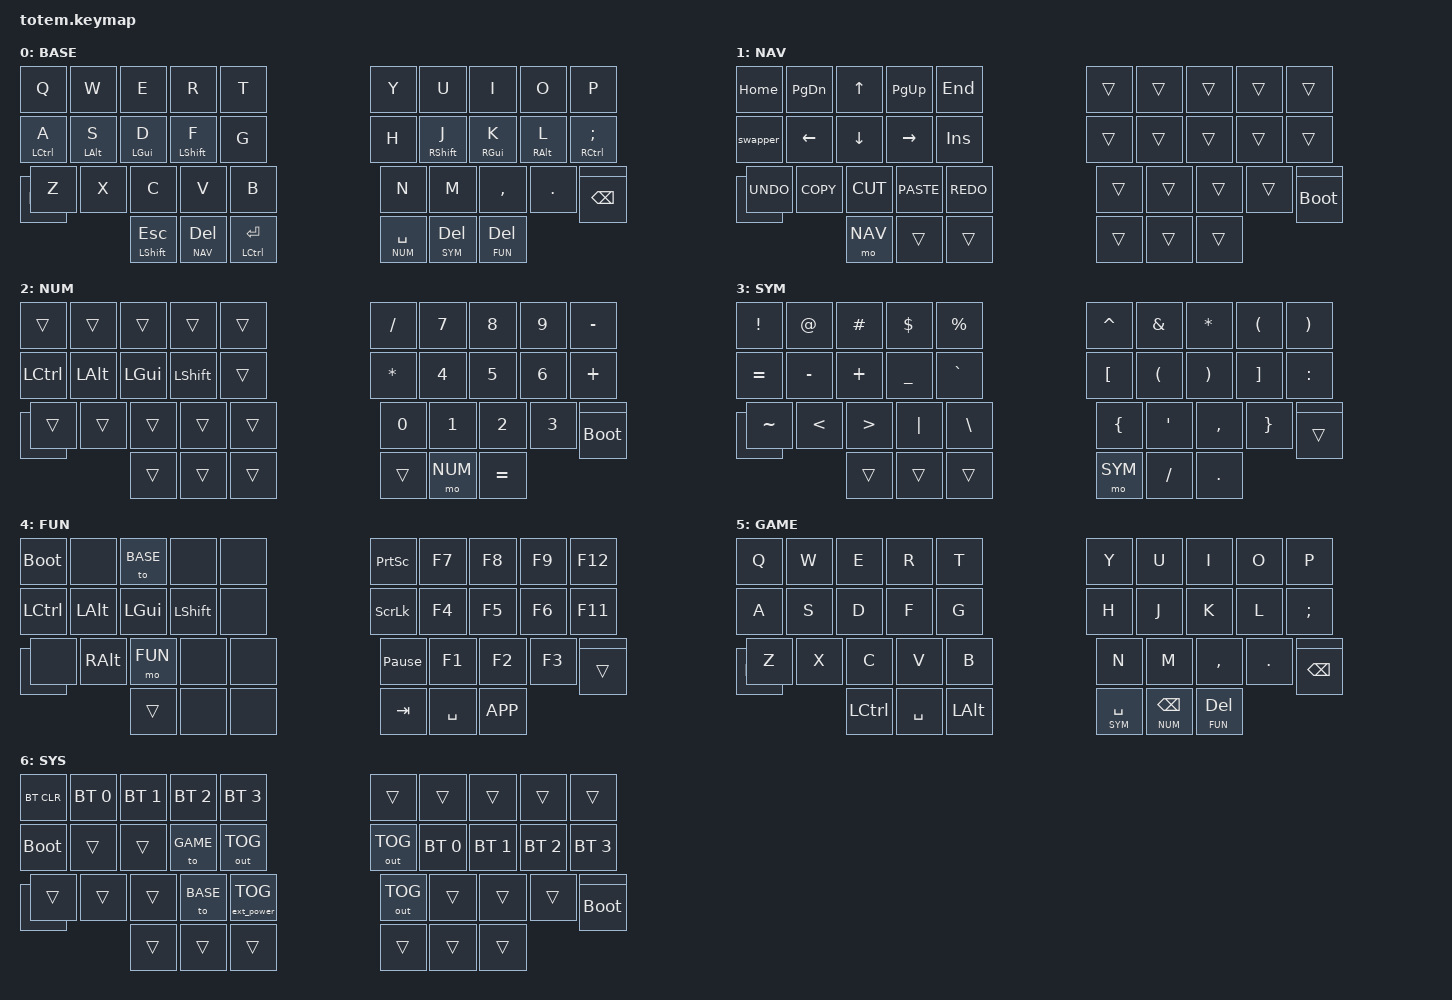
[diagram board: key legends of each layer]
/*
 * Unified Miryoku-inspired keymap for Totem keyboard (38 keys)
 * Based on Corne layout, adapted for smaller form factor
 * Uses Miryoku layer structure with urob's num layer
 * Copyright (c) 2020 The ZMK Contributors
 * SPDX-License-Identifier: MIT
 */

#include <behaviors.dtsi>
#include <dt-bindings/zmk/bt.h>
#include <dt-bindings/zmk/keys.h>
#include <dt-bindings/zmk/outputs.h>
#include <dt-bindings/zmk/ext_power.h>
#include <dt-bindings/zmk/reset.h>
#include <dt-bindings/zmk/mouse.h>
#include <behaviors/num_word.dtsi>
#include <zmk-helpers/helper.h>
#include <zmk-helpers/key-labels/totem.h>

// Layer definitions
#define BASE 0
#define NAV 1
#define NUM 2
#define SYM 3
#define FUN 4
#define GAME 5
#define SYS 6

// Key position groups for positional hold-tap
// Totem: 38 keys total (5 cols × 3 rows + 6 outer keys + 6 thumb keys)
#define KEYS_L LT0 LT1 LT2 LT3 LT4 LM0 LM1 LM2 LM3 LM4 LB0 LB1 LB2 LB3 LB4 LB5  // Left hand
#define KEYS_R RT0 RT1 RT2 RT3 RT4 RM0 RM1 RM2 RM3 RM4 RB0 RB1 RB2 RB3 RB4 RB5  // Right hand
#define THUMBS LH2 LH1 LH0 RH0 RH1 RH2  // Thumb keys

/ {
    behaviors {
        // Home row mods - left hand (urob's timing)
        hml: homerow_mods_left {
            compatible = "zmk,behavior-hold-tap";
            #binding-cells = <2>;
            flavor = "balanced";
            tapping-term-ms = <280>;
            quick-tap-ms = <175>;
            require-prior-idle-ms = <150>;
            bindings = <&kp>, <&kp>;
            hold-trigger-key-positions = <KEYS_R THUMBS>;
            hold-trigger-on-release;
        };

        // Home row mods - right hand (urob's timing)
        hmr: homerow_mods_right {
            compatible = "zmk,behavior-hold-tap";
            #binding-cells = <2>;
            flavor = "balanced";
            tapping-term-ms = <280>;
            quick-tap-ms = <175>;
            require-prior-idle-ms = <150>;
            bindings = <&kp>, <&kp>;
            hold-trigger-key-positions = <KEYS_L THUMBS>;
            hold-trigger-on-release;
        };

        // Tap-dance for numword: tap=numword, double-tap=sticky layer
        num_dance: num_dance {
            compatible = "zmk,behavior-tap-dance";
            #binding-cells = <0>;
            tapping-term-ms = <200>;
            bindings = <&num_word NUM>, <&sl NUM>;
        };

        // Smart-num: hold=momentary NUM, tap=numword
        smart_num: smart_num {
            compatible = "zmk,behavior-hold-tap";
            #binding-cells = <2>;
            flavor = "balanced";
            tapping-term-ms = <200>;
            quick-tap-ms = <175>;
            bindings = <&mo>, <&num_dance>;
        };

        // App switcher tri-state for macOS (Ctrl+Tab with GUI/Ctrl swap)
        // Tap: Ctrl+Tab, Continue tapping: cycle through apps, Release: select app
        // Can use arrow keys (UP/DOWN/LEFT/RIGHT) while held to navigate
        swapper: swapper {
            compatible = "zmk,behavior-tri-state";
            label = "SWAPPER";
            #binding-cells = <0>;
            bindings = <&kt LCTRL>, <&kp TAB>, <&kt LCTRL>;
            ignored-key-positions = <LT2 LM1 LM2 LM3 LH1>;  // Arrow keys: UP(LT2), RIGHT(LM1), DOWN(LM2), LEFT(LM3), TAB(LH1)
        };
    };

    combos {
        compatible = "zmk,combos";

        // Combo to access SYS layer from GAME mode (top outer corners)
        combo_game_sys {
            timeout-ms = <50>;
            key-positions = <20 31>; // LB5 + RB5 (outer bottom corners)
            bindings = <&mo SYS>;
            layers = <GAME>;
        };

        // Combo to access SYS layer from BASE layer
        combo_base_sys {
            timeout-ms = <50>;
            key-positions = <20 31>; // LB5 + RB5 (outer bottom corners)
            bindings = <&mo SYS>;
            layers = <BASE>;
        };
    };

    keymap {
        compatible = "zmk,keymap";

        // BASE LAYER - QWERTY with urob's home row mods (CAGS order)
        base_layer {
            display-name = "BASE";
            // -----------------------------------------------------------------------------------------
            // |  Q  |  W  |  E  |  R  |  T  |   |  Y  |  U   |  I  |  O  |  P  |
            // |  A  |  S  |  D  |  F  |  G  |   |  H  |  J   |  K  |  L  |  ;  |
            // |  Z  |  X  |  C  |  V  |  B  |   |  N  |  M   |  ,  |  .  |  /  |
            //       |SHFT/ESC|NAV/DEL|CTRL/RET|   |NUM/SPC|SYM/DEL|FUN/DEL|

            bindings = <
    &kp Q          &kp W        &kp E         &kp R         &kp T             &kp Y         &kp U           &kp I         &kp O        &kp P
    &hml LCTRL A   &hml LALT S  &hml LGUI D   &hml LSHFT F  &kp G             &kp H         &hmr RSHFT J    &hmr RGUI K   &hmr RALT L  &hmr RCTRL SEMI
&kp ESC &kp Z      &kp X        &kp C         &kp V         &kp B             &kp N         &kp M           &kp COMMA     &kp DOT      &kp FSLH  &kp BSPC
                                &mt LSHFT ESC &lt NAV DEL   &mt LCTRL RET     &lt NUM SPACE &lt SYM DEL     &lt FUN DEL
            >;
        };

        // NAV LAYER - Navigation (one-handed left side)
        nav_layer {
            display-name = "NAV";
            // -----------------------------------------------------------------------------------------
            // | HOME| PGDN|  UP | PGUP| END |   |     |     |     |     |     |
            // |SWAP | LEFT| DOWN|RIGHT| INS |   |     |     |     |     |     |
            // |UNDO | COPY| CUT |PASTE|REDO |   |     |     |     |     |     |
            //       |     | NAV |     |   |     |     |     |

            bindings = <
    &kp HOME   &kp PG_DN  &kp UP     &kp PG_UP   &kp END       &trans    &trans  &trans  &trans  &trans
    &swapper   &kp LEFT   &kp DOWN   &kp RIGHT   &kp INS       &trans    &trans  &trans  &trans  &trans
&trans &kp K_UNDO &kp K_COPY &kp K_CUT  &kp K_PASTE &kp K_REDO    &trans    &trans  &trans  &trans  &trans  &bootloader
                           &mo NAV    &trans      &trans        &trans    &trans  &trans
            >;
        };

        // NUM LAYER - Number pad (one-handed right side)
        num_layer {
            display-name = "NUM";
            // -----------------------------------------------------------------------------------------
            // |     |     |     |     |     |   |  /  |  7  |  8  |  9  |  -  |
            // | CTRL| ALT | GUI |SHFT |     |   |  *  |  4  |  5  |  6  |  +  |
            // |     |     |     |     |     |   |  0  |  1  |  2  |  3  |  .  |
            //       |     |     |     |   |     | NUM |  =  |

            bindings = <
    &trans     &trans    &trans    &trans     &trans    &kp FSLH  &kp N7  &kp N8  &kp N9  &kp MINUS
    &kp LCTRL  &kp LALT  &kp LGUI  &kp LSHFT  &trans    &kp STAR  &kp N4  &kp N5  &kp N6  &kp PLUS
&trans &trans  &trans    &trans    &trans     &trans    &kp N0    &kp N1  &kp N2  &kp N3  &kp DOT  &bootloader
                         &trans    &trans     &trans    &trans    &mo NUM &kp EQUAL
            >;
        };

        // SYM LAYER - Symbols (Traditional number row + Python/JS optimized)
        sym_layer {
            display-name = "SYM";
            // -----------------------------------------------------------------------------------------
            // |  !  |  @  |  #  |  $  |  %  |   |  ^  |  &  |  *  |  (  |  )  |
            // |  =  |  -  |  +  |  _  |  `  |   |  [  |  (  |  )  |  ]  |  :  |
            // |  ~  |  <  |  >  |  |  |  \  |   |  {  |  '  |  ,  |  }  |  ;  |
            //       |     |     |     |   | SYM |  /  |  .  |

            bindings = <
    &kp EXCL   &kp AT    &kp HASH  &kp DLLR  &kp PRCNT    &kp CARET &kp AMPS  &kp ASTRK &kp LPAR  &kp RPAR
    &kp EQUAL  &kp MINUS &kp PLUS  &kp UNDER &kp GRAVE    &kp LBKT  &kp LPAR  &kp RPAR  &kp RBKT  &kp COLON
&trans &kp TILDE  &kp LT    &kp GT    &kp PIPE  &kp BSLH     &kp LBRC  &kp SQT   &kp COMMA &kp RBRC  &kp SEMI  &trans
                             &trans    &trans    &trans       &mo SYM   &kp FSLH  &kp DOT
            >;
        };

        // FUN LAYER - Function keys (right hand function keys)
        fun_layer {
            display-name = "FUN";
            // -----------------------------------------------------------------------------------------
            // |     |     |BASE |     |     |   |PSCR | F7  | F8  | F9  | F12 |
            // | CTRL| ALT | GUI |SHFT |     |   |SLCK | F4  | F5  | F6  | F11 |
            // |     |RALT | FUN |     |     |   |PAUS | F1  | F2  | F3  | F10 |
            //       |     |     |     |   | TAB | SPC | APP |

            bindings = <
    &bootloader &none     &to BASE   &none      &none     &kp PSCRN        &kp F7     &kp F8     &kp F9     &kp F12
    &kp LCTRL   &kp LALT  &kp LGUI   &kp LSHFT  &none     &kp SLCK         &kp F4     &kp F5     &kp F6     &kp F11
&trans &none    &kp RALT  &mo FUN    &none      &none     &kp PAUSE_BREAK  &kp F1     &kp F2     &kp F3     &kp F10  &trans
                          &trans     &none      &none     &kp TAB          &kp SPACE  &kp K_APP
            >;
        };

        // GAME LAYER - Gaming mode (no home row mods)
        game_layer {
            display-name = "GAME";
            // -----------------------------------------------------------------------------------------
            // |  Q  |  W  |  E  |  R  |  T  |   |  Y  |  U   |  I  |  O  |  P  |
            // |  A  |  S  |  D  |  F  |  G  |   |  H  |  J   |  K  |  L  |  ;  |
            // |  Z  |  X  |  C  |  V  |  B  |   |  N  |  M   |  ,  |  .  |  /  |
            //       | CTRL| SPC | ALT |   | SYM | NUM  | FUN |

            bindings = <
    &kp Q      &kp W      &kp E      &kp R      &kp T         &kp Y         &kp U        &kp I         &kp O        &kp P
    &kp A      &kp S      &kp D      &kp F      &kp G         &kp H         &kp J        &kp K         &kp L        &kp SEMI
&kp ESC &kp Z   &kp X      &kp C      &kp V      &kp B         &kp N         &kp M        &kp COMMA     &kp DOT      &kp FSLH  &kp BSPC
                          &kp LCTRL  &kp SPACE  &kp LALT      &lt SYM SPACE &lt NUM BSPC &lt FUN DEL
            >;
        };

        // SYS LAYER - System (includes GAME mode toggle)
        sys_layer {
            display-name = "SYS";
            // -----------------------------------------------------------------------------------------
            // |BTCLR| BT0 | BT1 | BT2 | BT3 |   |     |     |     |     |     |
            // |BOOT |     |     |GAME | OUT |   | OUT | BT0 | BT1 | BT2 | BT3 |
            // |     |     |     |BASE |EP_TOG|  | OUT |     |     |     |     |
            //       |     |     |     |   |     |     |     |

            bindings = <
    &bt BT_CLR   &bt BT_SEL 0  &bt BT_SEL 1  &bt BT_SEL 2  &bt BT_SEL 3       &trans        &trans        &trans        &trans          &trans
    &bootloader  &trans        &trans        &to GAME      &out OUT_TOG       &out OUT_TOG  &bt BT_SEL 0  &bt BT_SEL 1  &bt BT_SEL 2    &bt BT_SEL 3
&trans &trans    &trans        &trans        &to BASE      &ext_power EP_TOG  &out OUT_TOG  &trans        &trans        &trans          &trans  &bootloader
                               &trans        &trans        &trans             &trans        &trans        &trans
            >;
        };

        // Reserved layers for ZMK Studio
        extra_1 {
            status = "reserved";
        };

        extra_2 {
            status = "reserved";
        };

        extra_3 {
            status = "reserved";
        };
    };
};
